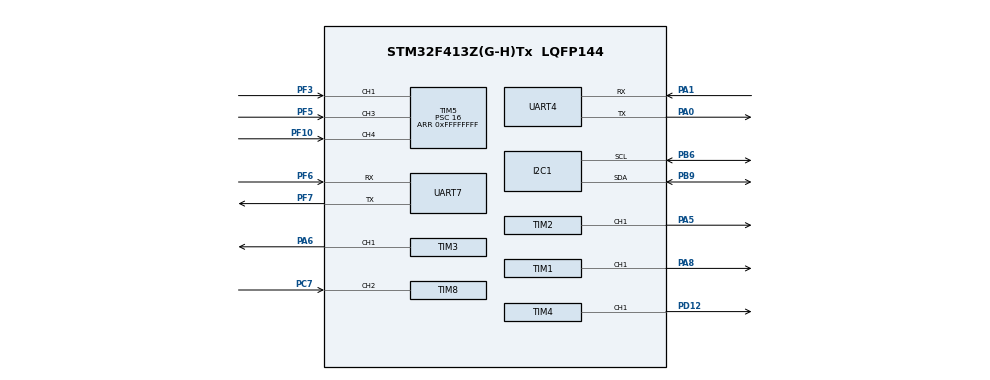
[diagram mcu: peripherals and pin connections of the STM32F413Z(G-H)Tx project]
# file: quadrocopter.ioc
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Dma.Request0=UART7_RX
Dma.UART7_RX.0.Direction=DMA_PERIPH_TO_MEMORY
Dma.UART7_RX.0.FIFOMode=DMA_FIFOMODE_DISABLE
Dma.UART7_RX.0.Instance=DMA1_Stream3
Dma.UART7_RX.0.MemDataAlignment=DMA_MDATAALIGN_BYTE
Dma.UART7_RX.0.MemInc=DMA_MINC_ENABLE
Dma.UART7_RX.0.Mode=DMA_NORMAL
Dma.UART7_RX.0.PeriphDataAlignment=DMA_PDATAALIGN_BYTE
Dma.UART7_RX.0.PeriphInc=DMA_PINC_DISABLE
Dma.UART7_RX.0.Priority=DMA_PRIORITY_LOW
Mcu.Family=STM32F4
Mcu.Name=STM32F413Z(G-H)Tx
Mcu.Package=LQFP144
NVIC.DMA1_Stream3_IRQn=true\:0\:0\:false\:false\:true\:false\:true
NVIC.PriorityGroup=NVIC_PRIORITYGROUP_4
NVIC.UART4_IRQn=true\:0\:0\:false\:false\:true\:true\:true
NVIC.UART7_IRQn=true\:0\:0\:false\:false\:true\:true\:true
PA0.Mode=Asynchronous
PA0.Signal=UART4_TX
PA1.Mode=Asynchronous
PA1.Signal=UART4_RX
PA5.Signal=S_TIM2_CH1_ETR
PA6.Signal=S_TIM3_CH1
PA8.Signal=S_TIM1_CH1
PB6.Mode=I2C
PB6.Signal=I2C1_SCL
PB9.Mode=I2C
PB9.Signal=I2C1_SDA
PC7.Signal=S_TIM8_CH2
PD12.Signal=S_TIM4_CH1
PF10.Signal=S_TIM5_CH4
PF3.Signal=S_TIM5_CH1
PF5.Signal=S_TIM5_CH3
PF6.Mode=Asynchronous
PF6.Signal=UART7_RX
PF7.Mode=Asynchronous
PF7.Signal=UART7_TX
ProjectManager.HeapSize=0x200
ProjectManager.StackSize=0x400
ProjectManager.TargetToolchain=MDK-ARM V5
RCC.CortexFreq_Value=16000000
RCC.USBFreq_Value=96000000
RCC.VCOOutputFreq_Value=192000000
SH.S_TIM1_CH1.0=TIM1_CH1,PWM Generation1 CH1
SH.S_TIM2_CH1_ETR.0=TIM2_CH1,PWM Generation1 CH1
SH.S_TIM3_CH1.0=TIM3_CH1,PWM Generation1 CH1
SH.S_TIM4_CH1.0=TIM4_CH1,PWM Generation1 CH1
SH.S_TIM5_CH1.0=TIM5_CH1,TriggerSource_TI1FP1
SH.S_TIM5_CH1.1=TIM5_CH1,Input_Capture1_from_TI1
SH.S_TIM5_CH3.0=TIM5_CH3,Input_Capture3_from_TI3
SH.S_TIM5_CH4.0=TIM5_CH4,Input_Capture4_from_TI4
SH.S_TIM8_CH2.0=TIM8_CH2,TriggerSource_TI2FP2
SH.S_TIM8_CH2.1=TIM8_CH2,Input_Capture2_from_TI2
TIM1.Channel-PWM\ Generation1\ CH1=TIM_CHANNEL_1
TIM1.Period=39999
TIM1.Prescaler=7
TIM1.Pulse-PWM\ Generation1\ CH1=1499
TIM2.Channel-PWM\ Generation1\ CH1=TIM_CHANNEL_1
TIM2.Period=39999
TIM2.Prescaler=7
TIM2.Pulse-PWM\ Generation1\ CH1=1499
TIM3.Channel-PWM\ Generation1\ CH1=TIM_CHANNEL_1
TIM3.Period=39999
TIM3.Prescaler=7
TIM3.Pulse-PWM\ Generation1\ CH1=1499
TIM4.Channel-PWM\ Generation1\ CH1=TIM_CHANNEL_1
TIM4.Period=39999
TIM4.Prescaler=7
TIM4.Pulse-PWM\ Generation1\ CH1=1499
TIM5.Channel-Input_Capture1_from_TI1=TIM_CHANNEL_1
TIM5.Channel-Input_Capture2_from_TI1_63=TIM_CHANNEL_2
TIM5.Channel-Input_Capture3_from_TI3=TIM_CHANNEL_3
TIM5.Channel-Input_Capture4_from_TI4=TIM_CHANNEL_4
TIM5.ICPolarity_CH2=TIM_INPUTCHANNELPOLARITY_FALLING
TIM5.ICPolarity_CH3=TIM_INPUTCHANNELPOLARITY_FALLING
TIM5.ICPolarity_CH4=TIM_INPUTCHANNELPOLARITY_FALLING
TIM5.Period=0xFFFFFFFF
TIM5.Prescaler=16
TIM8.Channel-Input_Capture1_from_TI2_63=TIM_CHANNEL_1
TIM8.Channel-Input_Capture2_from_TI2=TIM_CHANNEL_2
TIM8.ICPolarity_CH1=TIM_INPUTCHANNELPOLARITY_FALLING
TIM8.Prescaler=16
UART4.VirtualMode=Asynchronous
UART7.VirtualMode=Asynchronous
VP_TIM5_VS_ClockSourceINT.Mode=Internal
VP_TIM5_VS_ControllerModeReset.Mode=Reset Mode
VP_TIM5_VS_indirect_ch1.Mode=Input_Capture2_from_TI1_63
VP_TIM8_VS_ClockSourceINT.Mode=Internal
VP_TIM8_VS_ControllerModeReset.Mode=Reset Mode
VP_TIM8_VS_indirect_ch2.Mode=Input_Capture1_from_TI2_63
board=custom

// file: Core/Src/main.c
/* USER CODE BEGIN Header */
/**
  ******************************************************************************
  * @file           : main.c
  * @brief          : Main program body
  ******************************************************************************
  * @attention
  *
  * <h2><center>&copy; Copyright (c) 2022 STMicroelectronics.
  * All rights reserved.</center></h2>
  *
  * This software component is licensed by ST under BSD 3-Clause license,
  * the "License"; You may not use this file except in compliance with the
  * License. You may obtain a copy of the License at:
  *                        opensource.org/licenses/BSD-3-Clause
  *
  ******************************************************************************
  */
/* USER CODE END Header */
#include "main.h"

/* USER CODE BEGIN Includes */
#include "MPU9250_reg.h"
#include <math.h>
#include <stdio.h>
#include <string.h>
#include <stdlib.h>
/* USER CODE END Includes */

I2C_HandleTypeDef hi2c1;

TIM_HandleTypeDef htim1;
TIM_HandleTypeDef htim2;
TIM_HandleTypeDef htim3;
TIM_HandleTypeDef htim4;
TIM_HandleTypeDef htim5;
TIM_HandleTypeDef htim8;

UART_HandleTypeDef huart4;
UART_HandleTypeDef huart7;
DMA_HandleTypeDef hdma_uart7_rx;

/* USER CODE BEGIN PV */
//variables for initializing the sensor and recording its data
int16_t destination_a[3] ={0,};
int16_t destination_g[3] ={0,};
float destination[3] ={0,};
float destination2[3] = {0,};
int16_t destination_m[3] ={0,};

//array for sending data to Serial Plotter by UART
char buf[50];

uint8_t buff[6] = {0,};
uint8_t sum = 0;
float kp1 = 0.011;
float kd1 = 0.0085;
float kp2 = 0.01;
float kd2 = 0.0085;
float kp3 = 0.006;
float kd3 = 0.001;
uint16_t pwm1 = 1499;
uint16_t pwm2 = 1499;
uint16_t pwm3 = 1499;
uint16_t pwm4 = 1499;
uint16_t pwm_normal = 1499;

//initial accelerometer readings
int16_t proximate_normal_a_1 = -3250;
int16_t proximate_normal_a_2 = -550;
//initial gyroscope readings
int16_t proximate_normal_g_1 = 170;
int16_t proximate_normal_g_2 = 540;
int16_t proximate_normal_g_3 = -250;

uint8_t mass[10];
int16_t result[5];
int16_t result_filter[4];

float myfloat = 0;
int flag = 0;
int counter = 0;

int time = 0;
int16_t dataz = 0;
int16_t yaw = 0;
uint16_t board_data[4] = {0,};

/* USER CODE END PV */

void SystemClock_Config(void);
static void MX_GPIO_Init(void);
static void MX_I2C1_Init(void);
static void MX_UART4_Init(void);
static void MX_TIM1_Init(void);
static void MX_TIM2_Init(void);
static void MX_TIM3_Init(void);
static void MX_TIM4_Init(void);
static void MX_DMA_Init(void);
static void MX_UART7_Init(void);
static void MX_TIM5_Init(void);
static void MX_TIM8_Init(void);

/* USER CODE BEGIN 0 */
int max(int a, int b){
  return (a > b) ? a : b;
}

int min(int a, int b){
  return (a > b) ? b : a;
}

double Med(int16_t *Arr, int n){
    int i,j;
    double z;
    for (i=0; i<n-1;i++)
        for (j=i+1;j<n;j++)
            if (Arr[i] > Arr[j])
            {
                z=Arr[i];
                Arr[i]=Arr[j];
                Arr[j]=z;
            }
    if ((n % 2) == 0)
        return 0.5*(Arr[n/2]+Arr[n/2-1]);
    else
        return Arr[n/2];
}

void MPU_init (void) {

   uint8_t R;
   uint8_t c;

   HAL_I2C_Mem_Write(&hi2c1, MPU9250_ADDRESS_W, PWR_MGMT_1, 1, 0x00, 1, 100);   // Clear sleep mode bit (6), enable all sensors
   HAL_Delay(100);
   R = 0x01;
   HAL_I2C_Mem_Write(&hi2c1, MPU9250_ADDRESS_W, PWR_MGMT_1, 1, &R, 1, 100);   // Set clock source to be PLL with x-axis gyroscope reference, bits 2:0 = 001

   // Configure Gyro and Accelerometer
   // Disable FSYNC and set accelerometer and gyro bandwidth to 44 and 42 Hz, respectively;
   // DLPF_CFG = bits 2:0 = 010; this sets the sample rate at 1 kHz for both
   // Maximum delay is 4.9 ms which is just over a 200 Hz maximum rate
   R = 0x03;
   HAL_I2C_Mem_Write(&hi2c1, MPU9250_ADDRESS_W, CONFIG, 1, &R, 1, 100);

   // Set sample rate = gyroscope output rate/(1 + SMPLRT_DIV)
   R = 0x04;
   HAL_I2C_Mem_Write(&hi2c1, MPU9250_ADDRESS_W, SMPLRT_DIV, 1, &R, 1, 100);   // Use a 200 Hz rate; the same rate set in CONFIG above

   // Set gyroscope full scale range
   // Range selects FS_SEL and AFS_SEL are 0 - 3, so 2-bit values are left-shifted into positions 4:3
  HAL_I2C_Mem_Read(&hi2c1, MPU9250_ADDRESS_R, GYRO_CONFIG, 1, &c, 6, 100);    // get current GYRO_CONFIG register value
   // c = c & ~0xE0; // Clear self-test bits [7:5]
  c = c & ~0x02; // Clear Fchoice bits [1:0]
  c = c & ~0x18; // Clear AFS bits [4:3]
  c = c | 0 << 3; // Set full scale range for the gyro - 0=+250dps
   // c =| 0x00; // Set Fchoice for the gyro to 11 by writing its inverse to bits 1:0 of GYRO_CONFIG
   HAL_I2C_Mem_Write(&hi2c1, MPU9250_ADDRESS_W, GYRO_CONFIG, 1, &c, 1, 100);    // Write new GYRO_CONFIG value to register

  // Set accelerometer full-scale range configuration
  HAL_I2C_Mem_Read(&hi2c1, MPU9250_ADDRESS_R, ACCEL_CONFIG, 1, &c, 6, 100);   // get current ACCEL_CONFIG register value
   // c = c & ~0xE0; // Clear self-test bits [7:5]
  c = c & ~0x18;  // Clear AFS bits [4:3]
  c = c | 0 << 3; // Set full scale range for the accelerometer  - 0=2g
  HAL_I2C_Mem_Write(&hi2c1, MPU9250_ADDRESS_W, ACCEL_CONFIG, 1, &c, 1, 100);   // Write new ACCEL_CONFIG register value

   // Set accelerometer sample rate configuration
   // It is possible to get a 4 kHz sample rate from the accelerometer by choosing 1 for
   // accel_fchoice_b bit [3]; in this case the bandwidth is 1.13 kHz
    HAL_I2C_Mem_Read(&hi2c1, MPU9250_ADDRESS_R, MPU9250_ACCEL_CONFIG_2, 1, &c, 6, 100);   // get current ACCEL_CONFIG2 register value
  c = c & ~0x0F; // Clear accel_fchoice_b (bit 3) and A_DLPFG (bits [2:0])
  c = c | 0x03;  // Set accelerometer rate to 1 kHz and bandwidth to 41 Hz
   HAL_I2C_Mem_Write(&hi2c1, MPU9250_ADDRESS_W, MPU9250_ACCEL_CONFIG_2, 1, &c, 1, 100);   // Write new ACCEL_CONFIG2 register value

   // The accelerometer, gyro, and thermometer are set to 1 kHz sample rates,
   // but all these rates are further reduced by a factor of 5 to 200 Hz because of the SMPLRT_DIV setting

   // Configure Interrupts and Bypass Enable
  // Set interrupt pin active high, push-pull, and clear on read of INT_STATUS, enable I2C_BYPASS_EN so additional chips
  // can join the I2C bus and all can be controlled by the Arduino as master
   R=0x22;
   HAL_I2C_Mem_Write(&hi2c1, MPU9250_ADDRESS_W, MPU9250_INT_PIN_CFG, 1, &R, 1, 100);
  R=0x01;
   HAL_I2C_Mem_Write(&hi2c1, MPU9250_ADDRESS_W, MPU9250_INT_ENABLE, 1, &R, 1, 100);   // Enable data ready (bit 0) interrupt

}

void MAGN_init (float * destination) {

   uint8_t R;
   uint8_t rawData[3];  // x/y/z gyro calibration data stored here

   // First extract the factory calibration for each magnetometer axis
  R=0x00;
   HAL_I2C_Mem_Write(&hi2c1, AK8963_ADDRESS_W, AK8963_CNTL, 1, &R, 1, 100);    // Power down magnetometer
  HAL_Delay(10);
   R=0x0F;
   HAL_I2C_Mem_Write(&hi2c1, AK8963_ADDRESS_W, AK8963_CNTL, 1, &R, 1, 100);    // Enter Fuse ROM access mode
  HAL_Delay(10);
   HAL_I2C_Mem_Read(&hi2c1, AK8963_ADDRESS_W, AK8963_ASAX, 1, rawData, 3, 100);  // Read the x-, y-, and z-axis calibration values
  destination[0] =  (float)(rawData[0] - 128)/256.0f + 1.0f;   // Return x-axis sensitivity adjustment values, etc.
  destination[1] =  (float)(rawData[1] - 128)/256.0f + 1.0f;
  destination[2] =  (float)(rawData[2] - 128)/256.0f + 1.0f;
   R=0x00;
   HAL_I2C_Mem_Write(&hi2c1, AK8963_ADDRESS_W, AK8963_CNTL, 1, &R, 1, 100);    // Power down magnetometer
  HAL_Delay(10);
  // Configure the magnetometer for continuous read and highest resolution
  // set Mscale bit 4 to 1 (0) to enable 16 (14) bit resolution in CNTL register,
  // and enable continuous mode data acquisition Mmode (bits [3:0]), 0010 for 8 Hz and 0110 for 100 Hz sample rates
   R = 0 << 4 | 0x06;
   HAL_I2C_Mem_Write(&hi2c1, AK8963_ADDRESS_W, AK8963_CNTL, 1, &R, 1, 100);    // Set magnetometer data resolution and sample ODR
  HAL_Delay(10);

   R=0x40;
  HAL_I2C_Mem_Write(&hi2c1, AK8963_ADDRESS_W, AK8963_ASTC, 1, &R, 1, 100); // set self-test
}

void MPU_get_accel (int16_t * destination) {

  uint8_t rawData[6];
  HAL_I2C_Mem_Read(&hi2c1, MPU9250_ADDRESS_R, MPU9250_ACCEL_XOUT_H, 1, rawData, 6, 100);
  destination[0] = (int16_t)(((int16_t)rawData[0] << 8) | rawData[1]) ;  // Turn the MSB and LSB into a signed 16-bit value
  destination[1] = (int16_t)(((int16_t)rawData[2] << 8) | rawData[3]) ;
  destination[2] = (int16_t)(((int16_t)rawData[4] << 8) | rawData[5]) ;
}

void MPU_get_gyro (int16_t * destination) {

   uint8_t rawData[6];  // x/y/z gyro register data stored here
   HAL_I2C_Mem_Read(&hi2c1, MPU9250_ADDRESS_R, MPU9250_GYRO_XOUT_H, 1, rawData, 6, 100);    // Read the six raw data registers sequentially into data array
  destination[0] = (int16_t)(((int16_t)rawData[0] << 8) | rawData[1]) ;  // Turn the MSB and LSB into a signed 16-bit value
  destination[1] = (int16_t)(((int16_t)rawData[2] << 8) | rawData[3]) ;
  destination[2] = (int16_t)(((int16_t)rawData[4] << 8) | rawData[5]) ;
}

void MPU_get_magn (int16_t * destination) {
   uint8_t rawData[7];  // x/y/z gyro register data, ST2 register stored here, must read ST2 at end of data acquisition
   uint8_t c;
   HAL_I2C_Mem_Read(&hi2c1, AK8963_ADDRESS_R, AK8963_ST1, 1, &c, 1, 100);
  if(c >= 0x01) { // wait for magnetometer data ready bit to be set
      HAL_I2C_Mem_Read(&hi2c1, AK8963_ADDRESS_R, AK8963_XOUT_L, 1, rawData, 7, 100);  // Read the six raw data and ST2 registers sequentially into data array
      c = rawData[6]; // End data read by reading ST2 register
    if(!(c & 0x08)) { // Check if magnetic sensor overflow set, if not then report data
         destination[0] = (int16_t)(((int16_t)rawData[1] << 8) | rawData[0]);  // Turn the MSB and LSB into a signed 16-bit value
         destination[1] = (int16_t)(((int16_t)rawData[3] << 8) | rawData[2]) ;  // Data stored as little Endian
         destination[2] = (int16_t)(((int16_t)rawData[5] << 8) | rawData[4]) ;

   }
  }

}

//The first parameter of the function is an array (size=3) of values from the three axes of the gyroscope (accelerometer, magnetometer), the description of the remaining parameters is indicated in "USER CODE BEGIN 1"
void MPU_filter(int16_t* destination_ins , int16_t** arr, int16_t * destination_filter,int16_t * destination_filter2,int16_t **arr2, int* N,int* counter_N, int* counter_M){
	for(int x = 0;x < 3;x++){
		if(*counter_N < *N+1){
			arr[x][(*counter_N)-1] = destination_ins[x];
		}
		if(*counter_N == *N+1){
			int sum = 0;
			for(int j = 0;j < *N;j++){
				sum += arr[x][j];
			}
			destination_filter[x] = sum / *N;
			arr2[x][*counter_M - (*N+1)] = destination_filter[x];
			if(x == 2){
				*counter_M = 0;
			}

		}
		if(*counter_N > *N+1){
			for(int j = 0;j < *N - 1;j++){
				arr[x][j] = arr[x][j+1];
			}
			arr[x][*N-1] = destination_ins[x];
			int sum = 0;
			for(int j = 0;j < *N;j++){
				sum += arr[x][j];
			}
			destination_filter[x] = sum / *N;
			arr2[x][*counter_M] = destination_filter[x];

			if(*counter_M == 2){
				destination_filter2[x] = Med(arr2[x],3);
			}
			if(*counter_M == 2 && x == 2){
				*counter_M = -1;
			}
		}
	}
	*counter_N += 1;
	*counter_M += 1;

}

float trace_float(uint8_t * array){
	union help{
		uint8_t mass[4];
		float pix;
	}p;

	for(int i = 0; i<4;i++){
		p.mass[i] = array[i];
	}
	return p.pix;
}
int16_t* trace_int16_t(uint8_t * array, int16_t* result){
	union help{
		uint8_t mass8_t[10];
		int16_t mass16_t[5];
	}p;

	for(int i = 0; i<10;i++){
		p.mass8_t[i] = array[i];
	}
	for(int i = 0; i < 5; i++){
		result[i] = p.mass16_t[i];
	}
	return result;
}
void HAL_UART_RxCpltCallback(UART_HandleTypeDef *huart)
{
	//if(buff[0] == 0x7E || buff[0] == 0x7F || buff[0] == 0x80 || buff[0] == 0x81 || buff[0] == 0x82 || buff[0] == 0x83 || buff[0] == 0x84 || buff[0] == 0x85 || buff[0] == 0x86|| buff[0] == 0x87|| buff[0] == 0x88 || buff[0] == 0x89)
		//	sum = buff[0];

	if(mass[7] == 0 && mass[8] == 0 && mass[9] == 0){
		flag = 1;
		//myfloat = trace_float(mass);
	}
	else{
		flag = 2;
		//trace_int16_t(mass,result);
	}
	//HAL_UART_Receive_IT(&huart7, (uint8_t*)buff, 6);
	HAL_UART_Receive_DMA(&huart7,(uint8_t*)mass,10);
	//HAL_UART_Receive_DMA(&huart7,(uint8_t*)mass,1);

}
void send_k_float(uint8_t* sum, uint8_t* buff, float* kp, float* kd){
	if(buff[0] == 0x7E ){
		*kp = trace_float(&buff[1]);
	}
	if(buff[0] == 0x7F ){
		*kd = trace_float(&buff[1]);
	}
}

void emergency_shutdown(uint16_t* pwm1, uint16_t* pwm2, uint16_t* pwm3, uint16_t* pwm4){
	if(*pwm1 > 1600 *2){
			*pwm1 = 1600*2;
		}
		if(*pwm1 < 800*2){
			*pwm1 = 800*2;
		}
		if(*pwm2 > 1600 *2){
			*pwm2 = 1600*2;
		}
		if(*pwm2 < 800*2){
			*pwm2 = 800*2;
		}
		if(*pwm3 > 1600 *2){
			*pwm3 = 1600*2;
		}
		if(*pwm3 < 800*2){
			*pwm3 = 800*2;
		}
		if(*pwm4 > 1600 *2){
			*pwm4 = 1600*2;
		}
		if(*pwm4 < 800*2){
			*pwm4 = 800*2;
		}
}

void package_came (float* kp1, float* kd1, float* kp2, float* kd2, float* kp3, float* kd3, uint16_t* pwm1, uint16_t* pwm2, uint16_t* pwm3, uint16_t* pwm4, uint16_t* pwm_normal, uint8_t* buff){
		if(flag == 1){
			if(mass[0] == 0x7E){
				*kp1 = trace_float(&buff[1]);
			}
			if(mass[0] == 0x7F){
				*kd1 = trace_float(&buff[1]);
			}
			if(mass[0] == 0x80){
				*pwm_normal = trace_float(&buff[1]);
			}
			if(mass[0] == 0x81){
				*pwm1 = trace_float(&buff[1]);
			}
			if(mass[0] == 0x82){
				*pwm2 = trace_float(&buff[1]);
			}
			if(mass[0] == 0x83){
				*pwm3 = trace_float(&buff[1]);
			}
			if(mass[0] == 0x84){
				*pwm4 = trace_float(&buff[1]);
			}
			if(mass[0] == 0x85){
				*kp2 = trace_float(&buff[1]);
			}
			if(mass[0] == 0x86){
				*kd2 = trace_float(&buff[1]);
			}
			if(mass[0] == 0x87){
				*kp3 = trace_float(&buff[1]);
			}
			if(mass[0] == 0x88){
				*kd3 = trace_float(&buff[1]);
			}
			if(mass[0] == 0x89){
				*pwm1 = trace_float(&buff[1]);
				*pwm2 = trace_float(&buff[1]);
				*pwm3 = trace_float(&buff[1]);
				*pwm4 = trace_float(&buff[1]);
			}
		}
}

void package_came_2(float* kp1, float* kd1, float* kp2, float* kd2, float* kp3, float* kd3, uint16_t* pwm1, uint16_t* pwm2, uint16_t* pwm3, uint16_t* pwm4, uint16_t* pwm_normal, uint8_t* buff){
		if(flag == 1){
			if(mass[0] == 0x7E){
				*kp1 = myfloat;
			}
			if(mass[0] == 0x7F){
				*kd1 = myfloat;
			}
			if(mass[0] == 0x80){
				*pwm_normal = myfloat;
			}
			if(mass[0] == 0x81){
				*pwm1 = myfloat;
			}
			if(mass[0] == 0x82){
				*pwm2 = myfloat;
			}
			if(mass[0] == 0x83){
				*pwm3 = myfloat;
			}
			if(mass[0] == 0x84){
				*pwm4 = myfloat;
			}
			if(mass[0] == 0x85){
				*kp2 = myfloat;
			}
			if(mass[0] == 0x86){
				*kd2 = myfloat;
			}
			if(mass[0] == 0x87){
				*kp3 = myfloat;
			}
			if(mass[0] == 0x88){
				*kd3 = myfloat;
			}
			if(mass[0] == 0x89){
				*pwm_normal = myfloat;
				/*
				*pwm1 = myfloat;
				*pwm2 = myfloat;
				*pwm3 = myfloat;
				*pwm4 = myfloat;
				*/
			}
		}
}
void package_came_board(int flag){
	if(flag == 1){
		counter++;
		myfloat = trace_float(mass+1);
		//HAL_Delay(100);
	}
	if(flag == 2){

		trace_int16_t(mass,result);
		//HAL_Delay(100);
	}
	//flag = 0;
}
void board(int16_t* result, int16_t* result_filter){
	result_filter[0] = (-result[4] + 2050) / 20;
	result_filter[1] = (-result[3] + 2050) / 20;
	result_filter[2] = (-result[1] + 2050) * 4;
	result_filter[3] = (-result[2] + 2050) * 4;
}
uint16_t linear_transformations_board(uint16_t pwm){
	uint16_t pwm_pro = 4089/956 * pwm - 3755879/956;
	return pwm_pro;
}
void frsky_board(uint16_t* board_data, int16_t* result_filter){
		board_data[0] = linear_transformations_board(TIM8->CCR1);
		board_data[1] = linear_transformations_board(TIM3->CCR2);
		board_data[2] = linear_transformations_board(TIM3->CCR3 - TIM3->CCR2);
		board_data[3] = linear_transformations_board(TIM3->CCR4 - TIM3->CCR3);
		result_filter[0] = (-board_data[0] + 2050) / 20;
		result_filter[1] = (-board_data[1]  + 2050) / 20;
		result_filter[2] = (-board_data[2]  + 2050) * 4;
		result_filter[3] = (-board_data[3]  + 2050) * 4;

}
void yaw_control(int* time,int16_t* dataz,int16_t* filter_1_data_g){
(*dataz) +=  filter_1_data_g[2]/1000;
(*time)++;
if(*time == 5)

if (*time == 10)
	(*time) = 0;
}

/* USER CODE END 0 */

int main(void)
{
  /* USER CODE BEGIN 1 */
	//variables for the function"MPU_filter for the accelerometer"
	int sample_size = 20;//N, the size of the sample for which the average value is taken
	int counter_N_filter_1_a = 1;//counter_N, counter for the first filter
	int counter_M_filter_2_a = 1;//counter_M, counter for the second filter
	int16_t filter_1_data_a[3] ={0,};//destination_filter_1, data filtered using an average value
	int16_t filter_2_data_a[3] ={0,};//destination_filter_2, data filtered using the mean and median filter
	int16_t filter_matrix_1_a[3][20] = {{0}}; //arr, a matrix storing a buffer of averaged values
	int16_t *startRows_1_a[3] = { filter_matrix_1_a[0], filter_matrix_1_a[1], filter_matrix_1_a[2] };//auxiliary array for passing "filter_matrix_1" to the function
	int16_t filter_matrix_2_a[3][3] = {{0}}; //arr2, a matrix storing a buffer of averaged values
	int16_t *startRows_2_a[3] = { filter_matrix_2_a[0], filter_matrix_2_a[1], filter_matrix_2_a[2] };//auxiliary array for passing "filter_matrix_2" to the function

	//variables for the function"MPU_filter for the gyroscope"
	int counter_N_filter_1_g = 1;//counter_N, counter for the first filter
	int counter_M_filter_2_g = 1;//counter_M, counter for the second filter
	int16_t filter_1_data_g[3] ={0,};//destination_filter_1, data filtered using an average value
	int16_t filter_2_data_g[3] ={0,};//destination_filter_2, data filtered using the mean and median filter
	int16_t filter_matrix_1_g[3][20] = {{0}}; //arr, a matrix storing a buffer of averaged values
	int16_t *startRows_1_g[3] = { filter_matrix_1_g[0], filter_matrix_1_g[1], filter_matrix_1_g[2] };//auxiliary array for passing "filter_matrix_1" to the function
	int16_t filter_matrix_2_g[3][3] = {{0}}; //arr2, a matrix storing a buffer of averaged values
	int16_t *startRows_2_g[3] = { filter_matrix_2_g[0], filter_matrix_2_g[1], filter_matrix_2_g[2] };//auxiliary array for passing "filter_matrix_2" to the function

  /* USER CODE END 1 */

  /* MCU Configuration--------------------------------------------------------*/

  /* Reset of all peripherals, Initializes the Flash interface and the Systick. */
  HAL_Init();

  /* Configure the system clock */
  SystemClock_Config();

  /* Initialize all configured peripherals */
  MX_GPIO_Init();
  MX_I2C1_Init();
  MX_UART4_Init();
  MX_TIM1_Init();
  MX_TIM2_Init();
  MX_TIM3_Init();
  MX_TIM4_Init();
  MX_DMA_Init();
  MX_UART7_Init();
  MX_TIM5_Init();
  MX_TIM8_Init();
  /* USER CODE BEGIN 2 */
	//HAL_UART_Receive_IT(&huart7, (uint8_t*)buff, 6);//late while you get signal for 6 bite and write him in "textbuff"
  HAL_UART_Receive_DMA(&huart7, (uint8_t*)mass, 10);
	//HAL_UART_Receive_DMA(&huart7, (uint8_t*)mass2, 1);

  /* USER CODE END 2 */

  /* Infinite loop */
  /* USER CODE BEGIN WHILE */

	//HAL_UART_Receive_IT(&huart4, (uint8_t*)buff, 6);//late while you get signal for 6 bite and write him in "textbuff"
	HAL_TIM_PWM_Start(&htim1, TIM_CHANNEL_1);
	HAL_TIM_PWM_Start(&htim2, TIM_CHANNEL_1);
	HAL_TIM_PWM_Start(&htim3, TIM_CHANNEL_1);
	HAL_TIM_PWM_Start(&htim4, TIM_CHANNEL_1);
	HAL_TIM_PWM_Start(&htim8, TIM_CHANNEL_1);
	HAL_TIM_PWM_Start(&htim5, TIM_CHANNEL_1);
	HAL_TIM_PWM_Start(&htim5, TIM_CHANNEL_2);
	HAL_TIM_PWM_Start(&htim5, TIM_CHANNEL_3);
	HAL_TIM_PWM_Start(&htim5, TIM_CHANNEL_4);
  while (1)
  {
		MPU_get_gyro(destination_g);
		MPU_get_accel(destination_a);
		MPU_get_magn(destination_m);
		MPU_filter((int16_t*)destination_a,startRows_1_a,(int16_t*)filter_1_data_a,(int16_t*)filter_2_data_a,startRows_2_a,&sample_size,&counter_N_filter_1_a,&counter_M_filter_2_a);
		MPU_filter((int16_t*)destination_g,startRows_1_g,(int16_t*)filter_1_data_g,(int16_t*)filter_2_data_g,startRows_2_g,&sample_size,&counter_N_filter_1_g,&counter_M_filter_2_g);
		//yaw_control(&time, &dataz, filter_1_data_g);
		dataz +=  filter_1_data_g[2]/1000;
		yaw = kp3 * dataz +  kd3 * (filter_1_data_g[2] - proximate_normal_g_3);

		send_k_float(&sum,buff,&kp1,&kd1);

		pwm1 = result_filter[0]-5+yaw -15- result_filter[1] + pwm_normal + kp1 * ((proximate_normal_a_1 - result_filter[2])-filter_1_data_a[0]) + kd1 * ((-filter_1_data_g[1] + 2 * (proximate_normal_g_1)) + (proximate_normal_g_1)) + kp2 * ((proximate_normal_a_2 + result_filter[3]) - (- filter_1_data_a[1] + 2 * (proximate_normal_a_2))) + kd2 * ((-filter_1_data_g[0] + 2 * (proximate_normal_g_2)) + (proximate_normal_g_2)) ;
		pwm2 = result_filter[0]-yaw /*+ 15*/ + result_filter[1] + pwm_normal + kp1 * ((proximate_normal_a_1 - result_filter[2])-filter_1_data_a[0]) + kd1 * ((-filter_1_data_g[1] + 2 * (proximate_normal_g_1)) + (proximate_normal_g_1)) + kp2 * ((proximate_normal_a_2 - result_filter[3])-filter_1_data_a[1]) + kd2 * (filter_1_data_g[0] - (proximate_normal_g_2));
		pwm3 = result_filter[0]-5+yaw +10- result_filter[1] + pwm_normal + kp1 * ((proximate_normal_a_1 + result_filter[2]) - (- filter_1_data_a[0] + 2 * proximate_normal_a_1)) + kd1 * (filter_1_data_g[1] - (proximate_normal_g_1)) + kp2 * ((proximate_normal_a_2 - result_filter[3])-filter_1_data_a[1]) + kd2 * (filter_1_data_g[0] - (proximate_normal_g_2));
		pwm4 = result_filter[0]-yaw -15+ result_filter[1] + pwm_normal + kp1 * ((proximate_normal_a_1 + result_filter[2]) - (- filter_1_data_a[0] + 2 * proximate_normal_a_1)) + kd1 * (filter_1_data_g[1] - (proximate_normal_g_1)) + kp2 * ((proximate_normal_a_2 + result_filter[3])- (- filter_1_data_a[1] + 2 * proximate_normal_a_2)) + kd2 * ((-filter_1_data_g[0] + 2 * (proximate_normal_g_2)) + (proximate_normal_g_2));

		//package_came_board
		package_came_board(flag);
		//package came
		package_came_2(&kp1, &kd1, &kp2, &kd2,&kp3, &kd3, &pwm1, &pwm2, &pwm3, &pwm4, &pwm_normal, buff);

		//frsky_board(board_data, result_filter);
		board(result,result_filter);
		/*

		if(flag ==-1){
			HAL_UART_Receive_DMA(&huart7,(uint8_t*)mass,10);
		}
		*/
		//emergency shutdown
		emergency_shutdown(&pwm1,&pwm2,&pwm3,&pwm4);

		TIM1->CCR1 = pwm1;
		TIM2->CCR1 = pwm2;
		TIM3->CCR1 = pwm3;
	  TIM4->CCR1 = pwm4;

		//sending data via UART for plotting in serial plotter
		sprintf(buf, "$%d %d %d %d;", board_data[0], board_data[1], board_data[2], board_data[3]);
		HAL_UART_Transmit(&huart4, (uint8_t*)buf, strlen(buf), 100);
    /* USER CODE END WHILE */

  }
}

void SystemClock_Config(void)
{
  RCC_OscInitTypeDef RCC_OscInitStruct = {0};
  RCC_ClkInitTypeDef RCC_ClkInitStruct = {0};

  /** Configure the main internal regulator output voltage
  */
  __HAL_RCC_PWR_CLK_ENABLE();
  __HAL_PWR_VOLTAGESCALING_CONFIG(PWR_REGULATOR_VOLTAGE_SCALE1);
  /** Initializes the RCC Oscillators according to the specified parameters
  * in the RCC_OscInitTypeDef structure.
  */
  RCC_OscInitStruct.OscillatorType = RCC_OSCILLATORTYPE_HSI|RCC_OSCILLATORTYPE_LSI;
  RCC_OscInitStruct.HSIState = RCC_HSI_ON;
  RCC_OscInitStruct.HSICalibrationValue = RCC_HSICALIBRATION_DEFAULT;
  RCC_OscInitStruct.LSIState = RCC_LSI_ON;
  RCC_OscInitStruct.PLL.PLLState = RCC_PLL_NONE;
  if (HAL_RCC_OscConfig(&RCC_OscInitStruct) != HAL_OK)
  {
    Error_Handler();
  }
  /** Initializes the CPU, AHB and APB buses clocks
  */
  RCC_ClkInitStruct.ClockType = RCC_CLOCKTYPE_HCLK|RCC_CLOCKTYPE_SYSCLK
                              |RCC_CLOCKTYPE_PCLK1|RCC_CLOCKTYPE_PCLK2;
  RCC_ClkInitStruct.SYSCLKSource = RCC_SYSCLKSOURCE_HSI;
  RCC_ClkInitStruct.AHBCLKDivider = RCC_SYSCLK_DIV1;
  RCC_ClkInitStruct.APB1CLKDivider = RCC_HCLK_DIV1;
  RCC_ClkInitStruct.APB2CLKDivider = RCC_HCLK_DIV1;

  if (HAL_RCC_ClockConfig(&RCC_ClkInitStruct, FLASH_LATENCY_0) != HAL_OK)
  {
    Error_Handler();
  }
}

static void MX_I2C1_Init(void)
{

  hi2c1.Instance = I2C1;
  hi2c1.Init.ClockSpeed = 100000;
  hi2c1.Init.DutyCycle = I2C_DUTYCYCLE_2;
  hi2c1.Init.OwnAddress1 = 0;
  hi2c1.Init.AddressingMode = I2C_ADDRESSINGMODE_7BIT;
  hi2c1.Init.DualAddressMode = I2C_DUALADDRESS_DISABLE;
  hi2c1.Init.OwnAddress2 = 0;
  hi2c1.Init.GeneralCallMode = I2C_GENERALCALL_DISABLE;
  hi2c1.Init.NoStretchMode = I2C_NOSTRETCH_DISABLE;
  if (HAL_I2C_Init(&hi2c1) != HAL_OK)
  {
    Error_Handler();
  }

}

static void MX_TIM1_Init(void)
{

  TIM_MasterConfigTypeDef sMasterConfig = {0};
  TIM_OC_InitTypeDef sConfigOC = {0};
  TIM_BreakDeadTimeConfigTypeDef sBreakDeadTimeConfig = {0};

  htim1.Instance = TIM1;
  htim1.Init.Prescaler = 7;
  htim1.Init.CounterMode = TIM_COUNTERMODE_UP;
  htim1.Init.Period = 39999;
  htim1.Init.ClockDivision = TIM_CLOCKDIVISION_DIV1;
  htim1.Init.RepetitionCounter = 0;
  htim1.Init.AutoReloadPreload = TIM_AUTORELOAD_PRELOAD_DISABLE;
  if (HAL_TIM_PWM_Init(&htim1) != HAL_OK)
  {
    Error_Handler();
  }
  sMasterConfig.MasterOutputTrigger = TIM_TRGO_RESET;
  sMasterConfig.MasterSlaveMode = TIM_MASTERSLAVEMODE_DISABLE;
  if (HAL_TIMEx_MasterConfigSynchronization(&htim1, &sMasterConfig) != HAL_OK)
  {
    Error_Handler();
  }
  sConfigOC.OCMode = TIM_OCMODE_PWM1;
  sConfigOC.Pulse = 1499;
  sConfigOC.OCPolarity = TIM_OCPOLARITY_HIGH;
  sConfigOC.OCNPolarity = TIM_OCNPOLARITY_HIGH;
  sConfigOC.OCFastMode = TIM_OCFAST_DISABLE;
  sConfigOC.OCIdleState = TIM_OCIDLESTATE_RESET;
  sConfigOC.OCNIdleState = TIM_OCNIDLESTATE_RESET;
  if (HAL_TIM_PWM_ConfigChannel(&htim1, &sConfigOC, TIM_CHANNEL_1) != HAL_OK)
  {
    Error_Handler();
  }
  sBreakDeadTimeConfig.OffStateRunMode = TIM_OSSR_DISABLE;
  sBreakDeadTimeConfig.OffStateIDLEMode = TIM_OSSI_DISABLE;
  sBreakDeadTimeConfig.LockLevel = TIM_LOCKLEVEL_OFF;
  sBreakDeadTimeConfig.DeadTime = 0;
  sBreakDeadTimeConfig.BreakState = TIM_BREAK_DISABLE;
  sBreakDeadTimeConfig.BreakPolarity = TIM_BREAKPOLARITY_HIGH;
  sBreakDeadTimeConfig.AutomaticOutput = TIM_AUTOMATICOUTPUT_DISABLE;
  if (HAL_TIMEx_ConfigBreakDeadTime(&htim1, &sBreakDeadTimeConfig) != HAL_OK)
  {
    Error_Handler();
  }
  HAL_TIM_MspPostInit(&htim1);

}

static void MX_TIM2_Init(void)
{

  TIM_MasterConfigTypeDef sMasterConfig = {0};
  TIM_OC_InitTypeDef sConfigOC = {0};

  htim2.Instance = TIM2;
  htim2.Init.Prescaler = 7;
  htim2.Init.CounterMode = TIM_COUNTERMODE_UP;
  htim2.Init.Period = 39999;
  htim2.Init.ClockDivision = TIM_CLOCKDIVISION_DIV1;
  htim2.Init.AutoReloadPreload = TIM_AUTORELOAD_PRELOAD_DISABLE;
  if (HAL_TIM_PWM_Init(&htim2) != HAL_OK)
  {
    Error_Handler();
  }
  sMasterConfig.MasterOutputTrigger = TIM_TRGO_RESET;
  sMasterConfig.MasterSlaveMode = TIM_MASTERSLAVEMODE_DISABLE;
  if (HAL_TIMEx_MasterConfigSynchronization(&htim2, &sMasterConfig) != HAL_OK)
  {
    Error_Handler();
  }
  sConfigOC.OCMode = TIM_OCMODE_PWM1;
  sConfigOC.Pulse = 1499;
  sConfigOC.OCPolarity = TIM_OCPOLARITY_HIGH;
  sConfigOC.OCFastMode = TIM_OCFAST_DISABLE;
  if (HAL_TIM_PWM_ConfigChannel(&htim2, &sConfigOC, TIM_CHANNEL_1) != HAL_OK)
  {
    Error_Handler();
  }
  HAL_TIM_MspPostInit(&htim2);

}

static void MX_TIM3_Init(void)
{

  TIM_MasterConfigTypeDef sMasterConfig = {0};
  TIM_OC_InitTypeDef sConfigOC = {0};

  htim3.Instance = TIM3;
  htim3.Init.Prescaler = 7;
  htim3.Init.CounterMode = TIM_COUNTERMODE_UP;
  htim3.Init.Period = 39999;
  htim3.Init.ClockDivision = TIM_CLOCKDIVISION_DIV1;
  htim3.Init.AutoReloadPreload = TIM_AUTORELOAD_PRELOAD_DISABLE;
  if (HAL_TIM_PWM_Init(&htim3) != HAL_OK)
  {
    Error_Handler();
  }
  sMasterConfig.MasterOutputTrigger = TIM_TRGO_RESET;
  sMasterConfig.MasterSlaveMode = TIM_MASTERSLAVEMODE_DISABLE;
  if (HAL_TIMEx_MasterConfigSynchronization(&htim3, &sMasterConfig) != HAL_OK)
  {
    Error_Handler();
  }
  sConfigOC.OCMode = TIM_OCMODE_PWM1;
  sConfigOC.Pulse = 1499;
  sConfigOC.OCPolarity = TIM_OCPOLARITY_HIGH;
  sConfigOC.OCFastMode = TIM_OCFAST_DISABLE;
  if (HAL_TIM_PWM_ConfigChannel(&htim3, &sConfigOC, TIM_CHANNEL_1) != HAL_OK)
  {
    Error_Handler();
  }
  HAL_TIM_MspPostInit(&htim3);

}

static void MX_TIM4_Init(void)
{

  TIM_MasterConfigTypeDef sMasterConfig = {0};
  TIM_OC_InitTypeDef sConfigOC = {0};

  htim4.Instance = TIM4;
  htim4.Init.Prescaler = 7;
  htim4.Init.CounterMode = TIM_COUNTERMODE_UP;
  htim4.Init.Period = 39999;
  htim4.Init.ClockDivision = TIM_CLOCKDIVISION_DIV1;
  htim4.Init.AutoReloadPreload = TIM_AUTORELOAD_PRELOAD_DISABLE;
  if (HAL_TIM_PWM_Init(&htim4) != HAL_OK)
  {
    Error_Handler();
  }
  sMasterConfig.MasterOutputTrigger = TIM_TRGO_RESET;
  sMasterConfig.MasterSlaveMode = TIM_MASTERSLAVEMODE_DISABLE;
  if (HAL_TIMEx_MasterConfigSynchronization(&htim4, &sMasterConfig) != HAL_OK)
  {
    Error_Handler();
  }
  sConfigOC.OCMode = TIM_OCMODE_PWM1;
  sConfigOC.Pulse = 1499;
  sConfigOC.OCPolarity = TIM_OCPOLARITY_HIGH;
  sConfigOC.OCFastMode = TIM_OCFAST_DISABLE;
  if (HAL_TIM_PWM_ConfigChannel(&htim4, &sConfigOC, TIM_CHANNEL_1) != HAL_OK)
  {
    Error_Handler();
  }
  HAL_TIM_MspPostInit(&htim4);

}

static void MX_TIM5_Init(void)
{

  TIM_ClockConfigTypeDef sClockSourceConfig = {0};
  TIM_SlaveConfigTypeDef sSlaveConfig = {0};
  TIM_MasterConfigTypeDef sMasterConfig = {0};
  TIM_IC_InitTypeDef sConfigIC = {0};

  htim5.Instance = TIM5;
  htim5.Init.Prescaler = 16;
  htim5.Init.CounterMode = TIM_COUNTERMODE_UP;
  htim5.Init.Period = 0xFFFFFFFF;
  htim5.Init.ClockDivision = TIM_CLOCKDIVISION_DIV1;
  htim5.Init.AutoReloadPreload = TIM_AUTORELOAD_PRELOAD_DISABLE;
  if (HAL_TIM_Base_Init(&htim5) != HAL_OK)
  {
    Error_Handler();
  }
  sClockSourceConfig.ClockSource = TIM_CLOCKSOURCE_INTERNAL;
  if (HAL_TIM_ConfigClockSource(&htim5, &sClockSourceConfig) != HAL_OK)
  {
    Error_Handler();
  }
  if (HAL_TIM_IC_Init(&htim5) != HAL_OK)
  {
    Error_Handler();
  }
  sSlaveConfig.SlaveMode = TIM_SLAVEMODE_RESET;
  sSlaveConfig.InputTrigger = TIM_TS_TI1FP1;
  sSlaveConfig.TriggerPolarity = TIM_INPUTCHANNELPOLARITY_RISING;
  sSlaveConfig.TriggerFilter = 0;
  if (HAL_TIM_SlaveConfigSynchro(&htim5, &sSlaveConfig) != HAL_OK)
  {
    Error_Handler();
  }
  sMasterConfig.MasterOutputTrigger = TIM_TRGO_RESET;
  sMasterConfig.MasterSlaveMode = TIM_MASTERSLAVEMODE_DISABLE;
  if (HAL_TIMEx_MasterConfigSynchronization(&htim5, &sMasterConfig) != HAL_OK)
  {
    Error_Handler();
  }
  sConfigIC.ICPolarity = TIM_INPUTCHANNELPOLARITY_RISING;
  sConfigIC.ICSelection = TIM_ICSELECTION_DIRECTTI;
  sConfigIC.ICPrescaler = TIM_ICPSC_DIV1;
  sConfigIC.ICFilter = 0;
  if (HAL_TIM_IC_ConfigChannel(&htim5, &sConfigIC, TIM_CHANNEL_1) != HAL_OK)
  {
    Error_Handler();
  }
  sConfigIC.ICPolarity = TIM_INPUTCHANNELPOLARITY_FALLING;
  sConfigIC.ICSelection = TIM_ICSELECTION_INDIRECTTI;
  if (HAL_TIM_IC_ConfigChannel(&htim5, &sConfigIC, TIM_CHANNEL_2) != HAL_OK)
  {
    Error_Handler();
  }
  sConfigIC.ICSelection = TIM_ICSELECTION_DIRECTTI;
  if (HAL_TIM_IC_ConfigChannel(&htim5, &sConfigIC, TIM_CHANNEL_3) != HAL_OK)
  {
    Error_Handler();
  }
  if (HAL_TIM_IC_ConfigChannel(&htim5, &sConfigIC, TIM_CHANNEL_4) != HAL_OK)
  {
    Error_Handler();
  }

}

static void MX_TIM8_Init(void)
{

  TIM_ClockConfigTypeDef sClockSourceConfig = {0};
  TIM_SlaveConfigTypeDef sSlaveConfig = {0};
  TIM_MasterConfigTypeDef sMasterConfig = {0};
  TIM_IC_InitTypeDef sConfigIC = {0};

  htim8.Instance = TIM8;
  htim8.Init.Prescaler = 16;
  htim8.Init.CounterMode = TIM_COUNTERMODE_UP;
  htim8.Init.Period = 65535;
  htim8.Init.ClockDivision = TIM_CLOCKDIVISION_DIV1;
  htim8.Init.RepetitionCounter = 0;
  htim8.Init.AutoReloadPreload = TIM_AUTORELOAD_PRELOAD_DISABLE;
  if (HAL_TIM_Base_Init(&htim8) != HAL_OK)
  {
    Error_Handler();
  }
  sClockSourceConfig.ClockSource = TIM_CLOCKSOURCE_INTERNAL;
  if (HAL_TIM_ConfigClockSource(&htim8, &sClockSourceConfig) != HAL_OK)
  {
    Error_Handler();
  }
  if (HAL_TIM_IC_Init(&htim8) != HAL_OK)
  {
    Error_Handler();
  }
  sSlaveConfig.SlaveMode = TIM_SLAVEMODE_RESET;
  sSlaveConfig.InputTrigger = TIM_TS_TI2FP2;
  sSlaveConfig.TriggerPolarity = TIM_INPUTCHANNELPOLARITY_RISING;
  sSlaveConfig.TriggerFilter = 0;
  if (HAL_TIM_SlaveConfigSynchro(&htim8, &sSlaveConfig) != HAL_OK)
  {
    Error_Handler();
  }
  sMasterConfig.MasterOutputTrigger = TIM_TRGO_RESET;
  sMasterConfig.MasterSlaveMode = TIM_MASTERSLAVEMODE_DISABLE;
  if (HAL_TIMEx_MasterConfigSynchronization(&htim8, &sMasterConfig) != HAL_OK)
  {
    Error_Handler();
  }
  sConfigIC.ICPolarity = TIM_INPUTCHANNELPOLARITY_FALLING;
  sConfigIC.ICSelection = TIM_ICSELECTION_INDIRECTTI;
  sConfigIC.ICPrescaler = TIM_ICPSC_DIV1;
  sConfigIC.ICFilter = 0;
  if (HAL_TIM_IC_ConfigChannel(&htim8, &sConfigIC, TIM_CHANNEL_1) != HAL_OK)
  {
    Error_Handler();
  }
  sConfigIC.ICPolarity = TIM_INPUTCHANNELPOLARITY_RISING;
  sConfigIC.ICSelection = TIM_ICSELECTION_DIRECTTI;
  if (HAL_TIM_IC_ConfigChannel(&htim8, &sConfigIC, TIM_CHANNEL_2) != HAL_OK)
  {
    Error_Handler();
  }

}

static void MX_UART4_Init(void)
{

  huart4.Instance = UART4;
  huart4.Init.BaudRate = 115200;
  huart4.Init.WordLength = UART_WORDLENGTH_8B;
  huart4.Init.StopBits = UART_STOPBITS_1;
  huart4.Init.Parity = UART_PARITY_NONE;
  huart4.Init.Mode = UART_MODE_TX_RX;
  huart4.Init.HwFlowCtl = UART_HWCONTROL_NONE;
  huart4.Init.OverSampling = UART_OVERSAMPLING_16;
  if (HAL_UART_Init(&huart4) != HAL_OK)
  {
    Error_Handler();
  }

}

static void MX_UART7_Init(void)
{

  huart7.Instance = UART7;
  huart7.Init.BaudRate = 115200;
  huart7.Init.WordLength = UART_WORDLENGTH_8B;
  huart7.Init.StopBits = UART_STOPBITS_1;
  huart7.Init.Parity = UART_PARITY_NONE;
  huart7.Init.Mode = UART_MODE_TX_RX;
  huart7.Init.HwFlowCtl = UART_HWCONTROL_NONE;
  huart7.Init.OverSampling = UART_OVERSAMPLING_16;
  if (HAL_UART_Init(&huart7) != HAL_OK)
  {
    Error_Handler();
  }

}

static void MX_DMA_Init(void)
{

  /* DMA controller clock enable */
  __HAL_RCC_DMA1_CLK_ENABLE();

  /* DMA interrupt init */
  /* DMA1_Stream3_IRQn interrupt configuration */
  HAL_NVIC_SetPriority(DMA1_Stream3_IRQn, 0, 0);
  HAL_NVIC_EnableIRQ(DMA1_Stream3_IRQn);

}

static void MX_GPIO_Init(void)
{

  /* GPIO Ports Clock Enable */
  __HAL_RCC_GPIOF_CLK_ENABLE();
  __HAL_RCC_GPIOA_CLK_ENABLE();
  __HAL_RCC_GPIOD_CLK_ENABLE();
  __HAL_RCC_GPIOC_CLK_ENABLE();
  __HAL_RCC_GPIOB_CLK_ENABLE();

}

void Error_Handler(void)
{
  __disable_irq();
  while (1)
  {
  }
}

/************************ (C) COPYRIGHT STMicroelectronics *****END OF FILE****/
